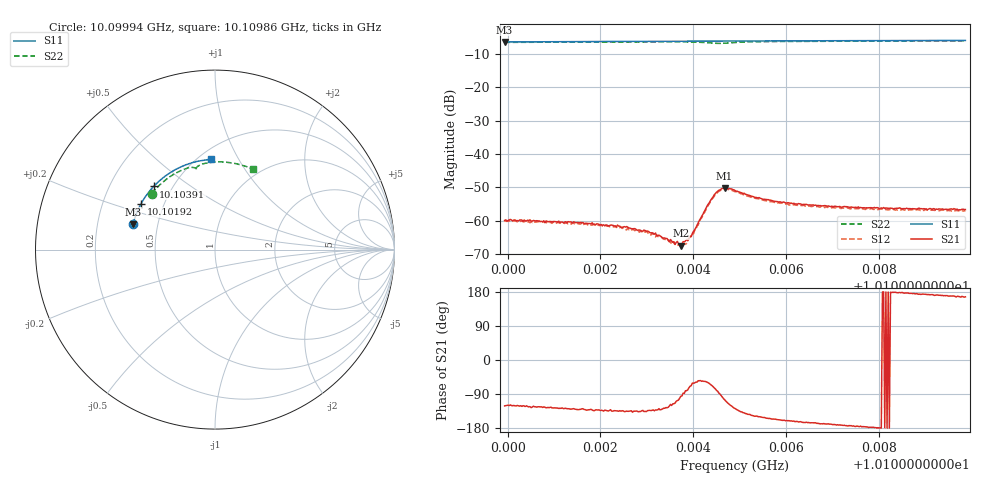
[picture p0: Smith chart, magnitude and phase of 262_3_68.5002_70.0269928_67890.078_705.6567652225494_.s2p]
#  HZ  S  RI  R  50.00
! Rohde & Schwarz Vector Network Analyzer
! Rohde-Schwarz,ZNB20-2Port,1311601062101988,3.16
! Created: UTC 3/20/2024, 5:00:18 PM
! freq[Hz]  re:S11  im:S11  re:S21  im:S21  re:S12  im:S12  re:S22  im:S22
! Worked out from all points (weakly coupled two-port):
!   401 points, 10.09994 GHz to 10.10986 GHz, reference 50 ohm
!   highest |S21| = -50.23 dB at 10.10468 GHz (marker M1); lowest = -67.6 dB at 10.10373 GHz (marker M2)
!   lowest |S11| = -6.4 dB at 10.09994 GHz (marker M3), VSWR 2.83, Z = 18 + j6.63 ohm
!   |S11| at or under -10 dB: nowhere
!   |S22| runs from -6.8 to -6.1 dB; largest |S21 - S12| = 0.00031
!   S11 on the Smith chart (normalised r, x): 10.09994 GHz: 0.36, +0.13; 10.10192 GHz: 0.37, +0.25; 10.10391 GHz: 0.39, +0.37; 10.10986 GHz: 0.57, +0.77
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1.0099936e10  -0.4566 0.1419  -0.000517 -0.000859  -0.000393 -0.0009  -0.3523 0.3124
1.0101599e10  -0.4218 0.237  -0.000579 -0.000716  -0.000545 -0.00074  -0.2759 0.3878
1.0101921e10  -0.4128 0.2543  -0.000593 -0.000668  -0.000536 -0.00068  -0.2592 0.4003
1.0102566e10  -0.3926 0.288  -0.000573 -0.000576  -0.000468 -0.000554  -0.2236 0.4234
1.0102839e10  -0.3832 0.3017  -0.000517 -0.000501  -0.000425 -0.000515  -0.2076 0.432
1.0102988e10  -0.3779 0.3089  -0.000498 -0.000478  -0.000432 -0.000529  -0.1988 0.4364
1.0103261e10  -0.3677 0.3219  -0.000375 -0.000471  -0.000334 -0.000453  -0.1819 0.4441
1.0103559e10  -0.3564 0.3359  -0.000205 -0.000426  -0.000179 -0.000448  -0.1623 0.4514
1.0103733e10  -0.3494 0.344  -4.11e-05 -0.000417  -3.05e-05 -0.000441  -0.1503 0.4549
1.0103807e10  -0.3462 0.3473  1.45e-05 -0.000477  9.41e-05 -0.000438  -0.145 0.4561
1.0103906e10  -0.3421 0.3518  0.000154 -0.000509  0.000203 -0.000504  -0.1376 0.4574
1.0104055e10  -0.3359 0.3583  0.000409 -0.000661  0.000443 -0.000584  -0.126 0.458
1.0104328e10  -0.3241 0.3699  0.00088 -0.00155  0.000958 -0.00142  -0.1063 0.4521
1.0104427e10  -0.3198 0.3739  0.000764 -0.00213  0.000907 -0.002  -0.1026 0.4472
1.0104551e10  -0.3143 0.379  0.000131 -0.00284  0.000358 -0.00273  -0.1034 0.4428
1.0104676e10  -0.3087 0.3839  -0.000804 -0.00297  -0.000502 -0.00292  -0.1065 0.4453
1.0104899e10  -0.2987 0.3928  -0.00174 -0.00223  -0.00149 -0.00227  -0.1019 0.4586
1.0105296e10  -0.2796 0.4077  -0.00192 -0.00123  -0.0017 -0.00137  -0.0766 0.4744
1.0105792e10  -0.255 0.425  -0.00177 -0.00075  -0.00163 -0.00089  -0.0429 0.4833
1.0106561e10  -0.2149 0.4486  -0.00166 -0.000419  -0.00153 -0.000542  0.00817 0.4885
1.0108224e10  -0.1218 0.4857  -0.00152 -8.98e-06  -0.00145 -0.00013  0.115 0.4792
1.0109861e10  -0.0243 0.5027  -0.00142 0.000338  -0.00138 0.000174  0.2142 0.4472
